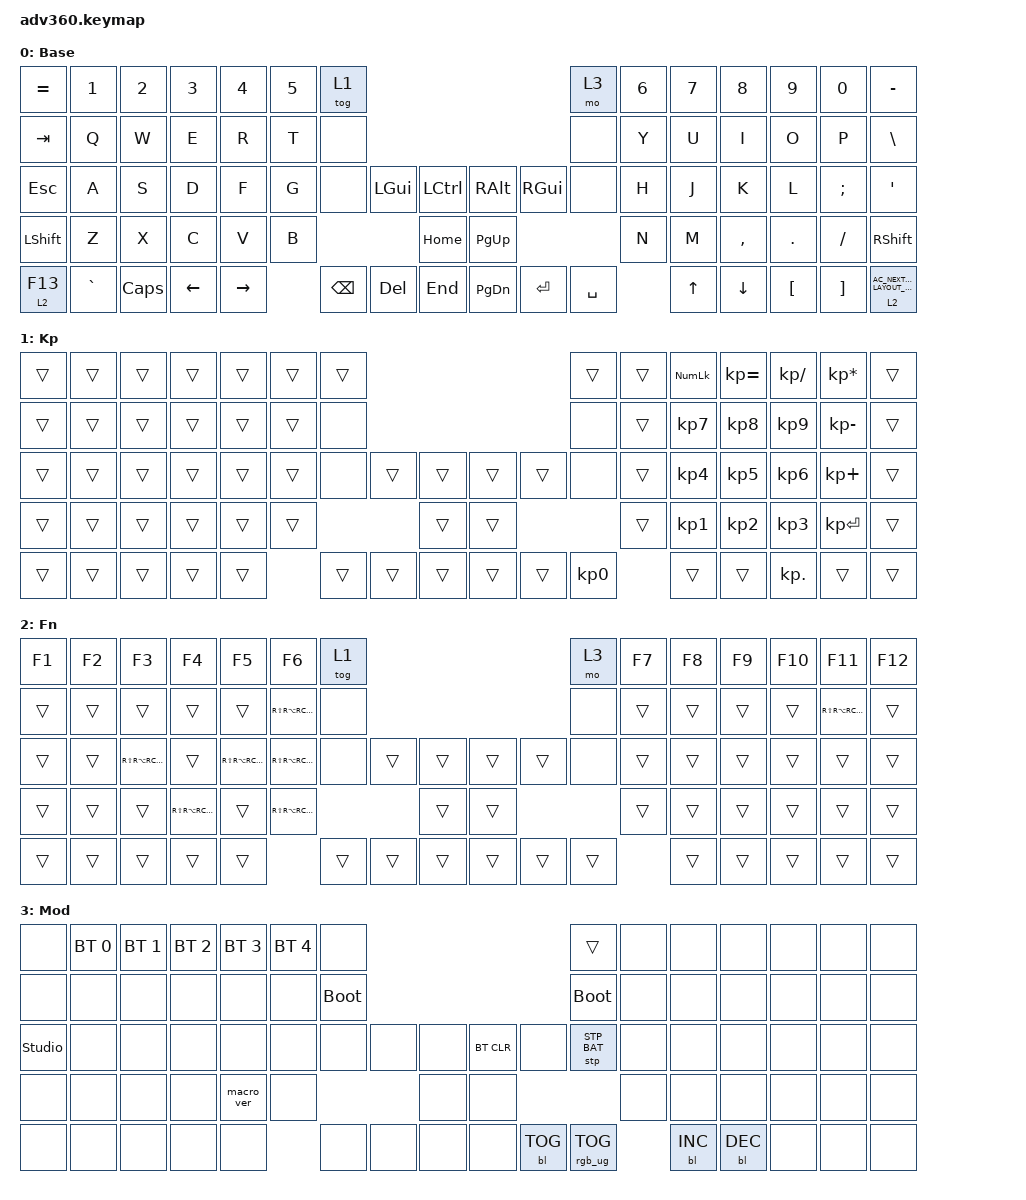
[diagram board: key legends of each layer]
#include <dt-bindings/zmk/stp.h>
#include <behaviors.dtsi>
#include <dt-bindings/zmk/backlight.h>
#include <dt-bindings/zmk/bt.h>
#include <dt-bindings/zmk/keys.h>
#include <dt-bindings/zmk/rgb.h>

/ {
    behaviors {
        #include "macros.dtsi"
      #include "version.dtsi"

        hm: homerow_mods {
            compatible = "zmk,behavior-hold-tap";
            label = "HOMEROW_MODS";
            #binding-cells = <2>;
            tapping-term-ms = <200>;
            quick_tap_ms = <175>;
            flavor = "tap-preferred";
            bindings = <&kp>, <&kp>;
        };
    };

    keymap {
        compatible = "zmk,keymap";

        default_layer {
            display-name = "Base";
            bindings = <
&kp EQUAL  &kp N1     &kp N2    &kp N3    &kp N4     &kp N5  &tog 1                                                               &mo 3      &kp N6  &kp N7  &kp N8     &kp N9    &kp N0             &kp MINUS
&kp TAB    &kp Q      &kp W     &kp E     &kp R      &kp T   &none                                                                &none      &kp Y   &kp U   &kp I      &kp O     &kp P              &kp BSLH
&kp ESC    &kp A      &kp S     &kp D     &kp F      &kp G   &none     &kp LEFT_GUI  &kp LCTRL      &kp RIGHT_ALT  &kp RIGHT_GUI  &none      &kp H   &kp J   &kp K      &kp L     &kp SEMI           &kp SQT
&kp LSHFT  &kp Z      &kp X     &kp C     &kp V      &kp B                           &kp HOME       &kp PG_UP                                &kp N   &kp M   &kp COMMA  &kp DOT   &kp FSLH           &kp RSHFT
&lt 2 F13  &kp GRAVE  &kp CAPS  &kp LEFT  &kp RIGHT          &kp BSPC  &kp DEL       &kp END        &kp PG_DN      &kp ENTER      &kp SPACE          &kp UP  &kp DOWN   &kp LBKT  &kp RIGHT_BRACKET  &lt 2 C_AC_NEXT_KEYBOARD_LAYOUT_SELECT
            >;
        };

        keypad {
            display-name = "Kp";
            bindings = <
&trans  &trans  &trans  &trans  &trans  &trans  &trans                                      &trans     &trans  &kp KP_NUM  &kp KP_EQUAL  &kp KP_DIVIDE  &kp KP_MULTIPLY  &trans
&trans  &trans  &trans  &trans  &trans  &trans  &none                                       &none      &trans  &kp KP_N7   &kp KP_N8     &kp KP_N9      &kp KP_MINUS     &trans
&trans  &trans  &trans  &trans  &trans  &trans  &none   &trans  &trans      &trans  &trans  &none      &trans  &kp KP_N4   &kp KP_N5     &kp KP_N6      &kp KP_PLUS      &trans
&trans  &trans  &trans  &trans  &trans  &trans                  &trans      &trans                     &trans  &kp KP_N1   &kp KP_N2     &kp KP_N3      &kp KP_ENTER     &trans
&trans  &trans  &trans  &trans  &trans          &trans  &trans  &trans      &trans  &trans  &kp KP_N0          &trans      &trans        &kp KP_DOT     &trans           &trans
            >;
        };

        fn {
            display-name = "Fn";
            bindings = <
&kp F1  &kp F2  &kp F3                 &kp F4                 &kp F5                 &kp F6                 &tog 1                                      &mo 3   &kp F7  &kp F8  &kp F9  &kp F10  &kp F11                &kp F12
&trans  &trans  &trans                 &trans                 &trans                 &kp RS(RA(RC(RG(T))))  &none                                       &none   &trans  &trans  &trans  &trans   &kp RS(RA(RC(RG(P))))  &trans
&trans  &trans  &kp RS(RA(RC(RG(S))))  &trans                 &kp RS(RA(RC(RG(F))))  &kp RS(RA(RC(RG(G))))  &none   &trans  &trans      &trans  &trans  &none   &trans  &trans  &trans  &trans   &trans                 &trans
&trans  &trans  &trans                 &kp RS(RA(RC(RG(C))))  &trans                 &kp RS(RA(RC(RG(B))))                  &trans      &trans                  &trans  &trans  &trans  &trans   &trans                 &trans
&trans  &trans  &trans                 &trans                 &trans                                        &trans  &trans  &trans      &trans  &trans  &trans          &trans  &trans  &trans   &trans                 &trans
            >;
        };

        mod {
            display-name = "Mod";
            bindings = <
&none           &bt BT_SEL 0  &bt BT_SEL 1  &bt BT_SEL 2  &bt BT_SEL 3  &bt BT_SEL 4  &none                                                  &trans           &none  &none       &none       &none  &none  &none
&none           &none         &none         &none         &none         &none         &bootloader                                            &bootloader      &none  &none       &none       &none  &none  &none
&studio_unlock  &none         &none         &none         &none         &none         &none        &none  &none      &bt BT_CLR  &none       &stp STP_BAT     &none  &none       &none       &none  &none  &none
&none           &none         &none         &none         &macro_ver    &none                             &none      &none                                    &none  &none       &none       &none  &none  &none
&none           &none         &none         &none         &none                       &none        &none  &none      &none       &bl BL_TOG  &rgb_ug RGB_TOG         &bl BL_INC  &bl BL_DEC  &none  &none  &none
            >;
        };
    };
};
